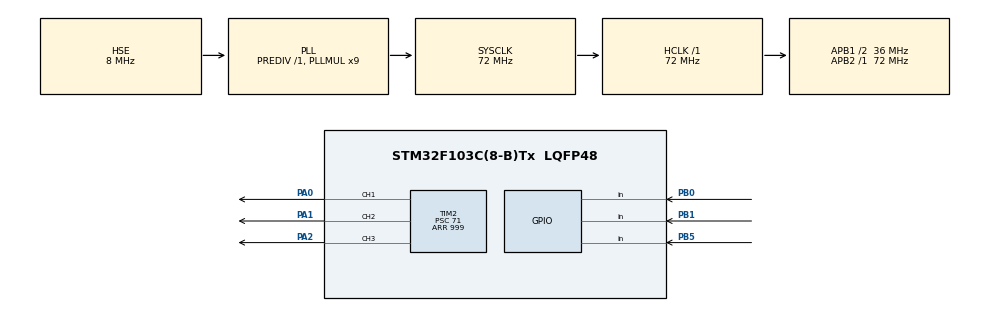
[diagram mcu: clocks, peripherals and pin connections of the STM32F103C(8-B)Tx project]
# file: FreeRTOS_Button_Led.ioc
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FREERTOS.Tasks01=defaultTask,0,128,StartDefaultTask,Default,NULL,Dynamic,NULL,NULL
Mcu.Family=STM32F1
Mcu.Name=STM32F103C(8-B)Tx
Mcu.Package=LQFP48
NVIC.PriorityGroup=NVIC_PRIORITYGROUP_4
NVIC.TIM4_IRQn=true\:15\:0\:false\:false\:true\:false\:false\:true\:true
NVIC.TimeBase=TIM4_IRQn
NVIC.TimeBaseIP=TIM4
PA0-WKUP.Signal=S_TIM2_CH1_ETR
PA1.Signal=S_TIM2_CH2
PA13.Mode=Serial_Wire
PA13.Signal=SYS_JTMS-SWDIO
PA14.Mode=Serial_Wire
PA14.Signal=SYS_JTCK-SWCLK
PA2.Signal=S_TIM2_CH3
PB0.GPIO_PuPd=GPIO_PULLUP
PB0.Signal=GPIO_Input
PB1.GPIO_PuPd=GPIO_PULLUP
PB1.Signal=GPIO_Input
PB5.GPIO_PuPd=GPIO_PULLUP
PB5.Signal=GPIO_Input
PD0-OSC_IN.Mode=HSE-External-Oscillator
PD0-OSC_IN.Signal=RCC_OSC_IN
PD1-OSC_OUT.Mode=HSE-External-Oscillator
PD1-OSC_OUT.Signal=RCC_OSC_OUT
ProjectManager.HeapSize=0x200
ProjectManager.StackSize=0x400
ProjectManager.TargetToolchain=MDK-ARM V5.32
RCC.AHBFreq_Value=72000000
RCC.APB1CLKDivider=RCC_HCLK_DIV2
RCC.APB1Freq_Value=36000000
RCC.APB1TimFreq_Value=72000000
RCC.APB2Freq_Value=72000000
RCC.APB2TimFreq_Value=72000000
RCC.HCLKFreq_Value=72000000
RCC.PLLMUL=RCC_PLL_MUL9
RCC.PLLSourceVirtual=RCC_PLLSOURCE_HSE
RCC.SYSCLKFreq_VALUE=72000000
RCC.SYSCLKSource=RCC_SYSCLKSOURCE_PLLCLK
RCC.USBFreq_Value=72000000
SH.S_TIM2_CH1_ETR.0=TIM2_CH1,PWM Generation1 CH1
SH.S_TIM2_CH2.0=TIM2_CH2,PWM Generation2 CH2
SH.S_TIM2_CH3.0=TIM2_CH3,PWM Generation3 CH3
TIM2.Channel-PWM\ Generation1\ CH1=TIM_CHANNEL_1
TIM2.Channel-PWM\ Generation2\ CH2=TIM_CHANNEL_2
TIM2.Channel-PWM\ Generation3\ CH3=TIM_CHANNEL_3
TIM2.Period=999
TIM2.Prescaler=71
VP_FREERTOS_VS_CMSIS_V1.Mode=CMSIS_V1
VP_SYS_VS_tim4.Mode=TIM4
VP_TIM2_VS_ClockSourceINT.Mode=Internal
board=custom

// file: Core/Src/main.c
/* USER CODE BEGIN Header */
/**
  ******************************************************************************
  * @file           : main.c
  * @brief          : Main program body
  ******************************************************************************
  * @attention
  *
  * Copyright (c) 2026 STMicroelectronics.
  * All rights reserved.
  *
  * This software is licensed under terms that can be found in the LICENSE file
  * in the root directory of this software component.
  * If no LICENSE file comes with this software, it is provided AS-IS.
  *
  ******************************************************************************
  */
/* USER CODE END Header */
#include "main.h"
#include "cmsis_os.h"

TIM_HandleTypeDef htim2;

osThreadId defaultTaskHandle;
/* USER CODE BEGIN PV */
typedef struct {
    uint16_t duty;
} LedCommand_t;

/* Queue handles */
QueueHandle_t xLedQueue1;
QueueHandle_t xLedQueue2;
QueueHandle_t xLedQueue3;

/* Task Handles */
TaskHandle_t xButtonTaskHandle = NULL;
TaskHandle_t xLedTask1Handle   = NULL;
TaskHandle_t xLedTask2Handle   = NULL;
TaskHandle_t xLedTask3Handle   = NULL;

/* Khai báo prototype hàm Task */
void vButtonTask(void *pvParameters);
void vLed1Task(void *pvParameters);
void vLed2Task(void *pvParameters);
void vLed3Task(void *pvParameters);
/* USER CODE END PV */

void SystemClock_Config(void);
static void MX_GPIO_Init(void);
static void MX_TIM2_Init(void);
void StartDefaultTask(void const * argument);

int main(void)
{

  /* MCU Configuration--------------------------------------------------------*/

  /* Reset of all peripherals, Initializes the Flash interface and the Systick. */
  HAL_Init();

  /* Configure the system clock */
  SystemClock_Config();

  /* Initialize all configured peripherals */
  MX_GPIO_Init();
  MX_TIM2_Init();
  /* USER CODE BEGIN 2 */
/* 1. Tao 3 Queue */
  xLedQueue1 = xQueueCreate(5, sizeof(LedCommand_t));
  xLedQueue2 = xQueueCreate(5, sizeof(LedCommand_t));
  xLedQueue3 = xQueueCreate(5, sizeof(LedCommand_t));

  /* 2. T?o Task Ðoc nut nhan */
  xTaskCreate(vButtonTask, "ButtonTask", 128, NULL, 2, &xButtonTaskHandle);

  /* 3. T?o 3 Task LED d?c l?p */
  xTaskCreate(vLed1Task, "Led1Task", 128, NULL, 1, &xLedTask1Handle);
  xTaskCreate(vLed2Task, "Led2Task", 128, NULL, 1, &xLedTask2Handle);
  xTaskCreate(vLed3Task, "Led3Task", 128, NULL, 1, &xLedTask3Handle);

  /* 4. Kh?i d?ng PWM trên 3 kênh c?a TIM2 */
  HAL_TIM_PWM_Start(&htim2, TIM_CHANNEL_1);
  HAL_TIM_PWM_Start(&htim2, TIM_CHANNEL_2);
  HAL_TIM_PWM_Start(&htim2, TIM_CHANNEL_3);
  /* USER CODE END 2 */

  /* Create the thread(s) */
  /* definition and creation of defaultTask */
  osThreadDef(defaultTask, StartDefaultTask, osPriorityNormal, 0, 128);
  defaultTaskHandle = osThreadCreate(osThread(defaultTask), NULL);

  /* Start scheduler */
  osKernelStart();

  /* We should never get here as control is now taken by the scheduler */

  /* Infinite loop */
  while (1)
  {

  }
}

void SystemClock_Config(void)
{
  RCC_OscInitTypeDef RCC_OscInitStruct = {0};
  RCC_ClkInitTypeDef RCC_ClkInitStruct = {0};

  /** Initializes the RCC Oscillators according to the specified parameters
  * in the RCC_OscInitTypeDef structure.
  */
  RCC_OscInitStruct.OscillatorType = RCC_OSCILLATORTYPE_HSE;
  RCC_OscInitStruct.HSEState = RCC_HSE_ON;
  RCC_OscInitStruct.HSEPredivValue = RCC_HSE_PREDIV_DIV1;
  RCC_OscInitStruct.HSIState = RCC_HSI_ON;
  RCC_OscInitStruct.PLL.PLLState = RCC_PLL_ON;
  RCC_OscInitStruct.PLL.PLLSource = RCC_PLLSOURCE_HSE;
  RCC_OscInitStruct.PLL.PLLMUL = RCC_PLL_MUL9;
  if (HAL_RCC_OscConfig(&RCC_OscInitStruct) != HAL_OK)
  {
    Error_Handler();
  }

  /** Initializes the CPU, AHB and APB buses clocks
  */
  RCC_ClkInitStruct.ClockType = RCC_CLOCKTYPE_HCLK|RCC_CLOCKTYPE_SYSCLK
                              |RCC_CLOCKTYPE_PCLK1|RCC_CLOCKTYPE_PCLK2;
  RCC_ClkInitStruct.SYSCLKSource = RCC_SYSCLKSOURCE_PLLCLK;
  RCC_ClkInitStruct.AHBCLKDivider = RCC_SYSCLK_DIV1;
  RCC_ClkInitStruct.APB1CLKDivider = RCC_HCLK_DIV2;
  RCC_ClkInitStruct.APB2CLKDivider = RCC_HCLK_DIV1;

  if (HAL_RCC_ClockConfig(&RCC_ClkInitStruct, FLASH_LATENCY_2) != HAL_OK)
  {
    Error_Handler();
  }
}

static void MX_TIM2_Init(void)
{

  TIM_ClockConfigTypeDef sClockSourceConfig = {0};
  TIM_MasterConfigTypeDef sMasterConfig = {0};
  TIM_OC_InitTypeDef sConfigOC = {0};

  htim2.Instance = TIM2;
  htim2.Init.Prescaler = 71;
  htim2.Init.CounterMode = TIM_COUNTERMODE_UP;
  htim2.Init.Period = 999;
  htim2.Init.ClockDivision = TIM_CLOCKDIVISION_DIV1;
  htim2.Init.AutoReloadPreload = TIM_AUTORELOAD_PRELOAD_DISABLE;
  if (HAL_TIM_Base_Init(&htim2) != HAL_OK)
  {
    Error_Handler();
  }
  sClockSourceConfig.ClockSource = TIM_CLOCKSOURCE_INTERNAL;
  if (HAL_TIM_ConfigClockSource(&htim2, &sClockSourceConfig) != HAL_OK)
  {
    Error_Handler();
  }
  if (HAL_TIM_PWM_Init(&htim2) != HAL_OK)
  {
    Error_Handler();
  }
  sMasterConfig.MasterOutputTrigger = TIM_TRGO_RESET;
  sMasterConfig.MasterSlaveMode = TIM_MASTERSLAVEMODE_DISABLE;
  if (HAL_TIMEx_MasterConfigSynchronization(&htim2, &sMasterConfig) != HAL_OK)
  {
    Error_Handler();
  }
  sConfigOC.OCMode = TIM_OCMODE_PWM1;
  sConfigOC.Pulse = 0;
  sConfigOC.OCPolarity = TIM_OCPOLARITY_HIGH;
  sConfigOC.OCFastMode = TIM_OCFAST_DISABLE;
  if (HAL_TIM_PWM_ConfigChannel(&htim2, &sConfigOC, TIM_CHANNEL_1) != HAL_OK)
  {
    Error_Handler();
  }
  if (HAL_TIM_PWM_ConfigChannel(&htim2, &sConfigOC, TIM_CHANNEL_2) != HAL_OK)
  {
    Error_Handler();
  }
  if (HAL_TIM_PWM_ConfigChannel(&htim2, &sConfigOC, TIM_CHANNEL_3) != HAL_OK)
  {
    Error_Handler();
  }
  HAL_TIM_MspPostInit(&htim2);

}

static void MX_GPIO_Init(void)
{
  GPIO_InitTypeDef GPIO_InitStruct = {0};

  /* GPIO Ports Clock Enable */
  __HAL_RCC_GPIOD_CLK_ENABLE();
  __HAL_RCC_GPIOA_CLK_ENABLE();
  __HAL_RCC_GPIOB_CLK_ENABLE();

  /*Configure GPIO pins : PB0 PB1 PB5 */
  GPIO_InitStruct.Pin = GPIO_PIN_0|GPIO_PIN_1|GPIO_PIN_5;
  GPIO_InitStruct.Mode = GPIO_MODE_INPUT;
  GPIO_InitStruct.Pull = GPIO_PULLUP;
  HAL_GPIO_Init(GPIOB, &GPIO_InitStruct);

}

/* USER CODE BEGIN 4 */
/* TASK Ð?C NÚT NH?N */
void vButtonTask(void *pvParameters) {
    uint8_t selected_led = 2;           // 0: LED1, 1: LED2, 2: LED3
    uint16_t brightness[3] = {0, 0, 0}; // Duty cycle (0 -> 1000)
    const uint16_t STEP = 100;

    for (;;) {
        // Nút 1 (PB0): Chuy?n LED
        if (HAL_GPIO_ReadPin(GPIOB, GPIO_PIN_0) == GPIO_PIN_RESET) {
            vTaskDelay(pdMS_TO_TICKS(50));
            if (HAL_GPIO_ReadPin(GPIOB, GPIO_PIN_0) == GPIO_PIN_RESET) {
                selected_led = (selected_led + 2) % 3;
                while (HAL_GPIO_ReadPin(GPIOB, GPIO_PIN_0) == GPIO_PIN_RESET) {
                    vTaskDelay(pdMS_TO_TICKS(10));
                }
            }
        }

        // Nút 2 (PB1): Tang d? sáng
        if (HAL_GPIO_ReadPin(GPIOB, GPIO_PIN_1) == GPIO_PIN_RESET) {
            vTaskDelay(pdMS_TO_TICKS(50));
            if (HAL_GPIO_ReadPin(GPIOB, GPIO_PIN_1) == GPIO_PIN_RESET) {
                brightness[selected_led] = (brightness[selected_led] + STEP > 1000) ? 1000 : (brightness[selected_led] + STEP);

                LedCommand_t cmd = { .duty = brightness[selected_led] };

                if (selected_led == 0)      xQueueSend(xLedQueue1, &cmd, portMAX_DELAY);
                else if (selected_led == 1) xQueueSend(xLedQueue2, &cmd, portMAX_DELAY);
                else if (selected_led == 2) xQueueSend(xLedQueue3, &cmd, portMAX_DELAY);

                while (HAL_GPIO_ReadPin(GPIOB, GPIO_PIN_1) == GPIO_PIN_RESET) {
                    vTaskDelay(pdMS_TO_TICKS(10));
                }
            }
        }

        // Nút 3 (PB5): Gi?m d? sáng
        if (HAL_GPIO_ReadPin(GPIOB, GPIO_PIN_5) == GPIO_PIN_RESET) {
            vTaskDelay(pdMS_TO_TICKS(50));
            if (HAL_GPIO_ReadPin(GPIOB, GPIO_PIN_5) == GPIO_PIN_RESET) {
                brightness[selected_led] = (brightness[selected_led] < STEP) ? 0 : (brightness[selected_led] - STEP);

                LedCommand_t cmd = { .duty = brightness[selected_led] };

                if (selected_led == 0)      xQueueSend(xLedQueue1, &cmd, portMAX_DELAY);
                else if (selected_led == 1) xQueueSend(xLedQueue2, &cmd, portMAX_DELAY);
                else if (selected_led == 2) xQueueSend(xLedQueue3, &cmd, portMAX_DELAY);

                while (HAL_GPIO_ReadPin(GPIOB, GPIO_PIN_5) == GPIO_PIN_RESET) {
                    vTaskDelay(pdMS_TO_TICKS(10));
                }
            }
        }

        vTaskDelay(pdMS_TO_TICKS(20));
    }
}

/* TASK LED 1 */
void vLed1Task(void *pvParameters) {
    LedCommand_t cmd;
    for (;;) {
        if (xQueueReceive(xLedQueue1, &cmd, portMAX_DELAY) == pdPASS) {
            __HAL_TIM_SET_COMPARE(&htim2, TIM_CHANNEL_1, cmd.duty);
        }
    }
}

/* TASK LED 2 */
void vLed2Task(void *pvParameters) {
    LedCommand_t cmd;
    for (;;) {
        if (xQueueReceive(xLedQueue2, &cmd, portMAX_DELAY) == pdPASS) {
            __HAL_TIM_SET_COMPARE(&htim2, TIM_CHANNEL_2, cmd.duty);
        }
    }
}

/* TASK LED 3 */
void vLed3Task(void *pvParameters) {
    LedCommand_t cmd;
    for (;;) {
        if (xQueueReceive(xLedQueue3, &cmd, portMAX_DELAY) == pdPASS) {
            __HAL_TIM_SET_COMPARE(&htim2, TIM_CHANNEL_3, cmd.duty);
        }
    }
}
/* USER CODE END 4 */

void StartDefaultTask(void const * argument)
{
  for(;;)
  {
    osDelay(1);
  }
}

void HAL_TIM_PeriodElapsedCallback(TIM_HandleTypeDef *htim)
{
  if (htim->Instance == TIM4)
  {
    HAL_IncTick();
  }
}

void Error_Handler(void)
{
  __disable_irq();
  while (1)
  {
  }
}
